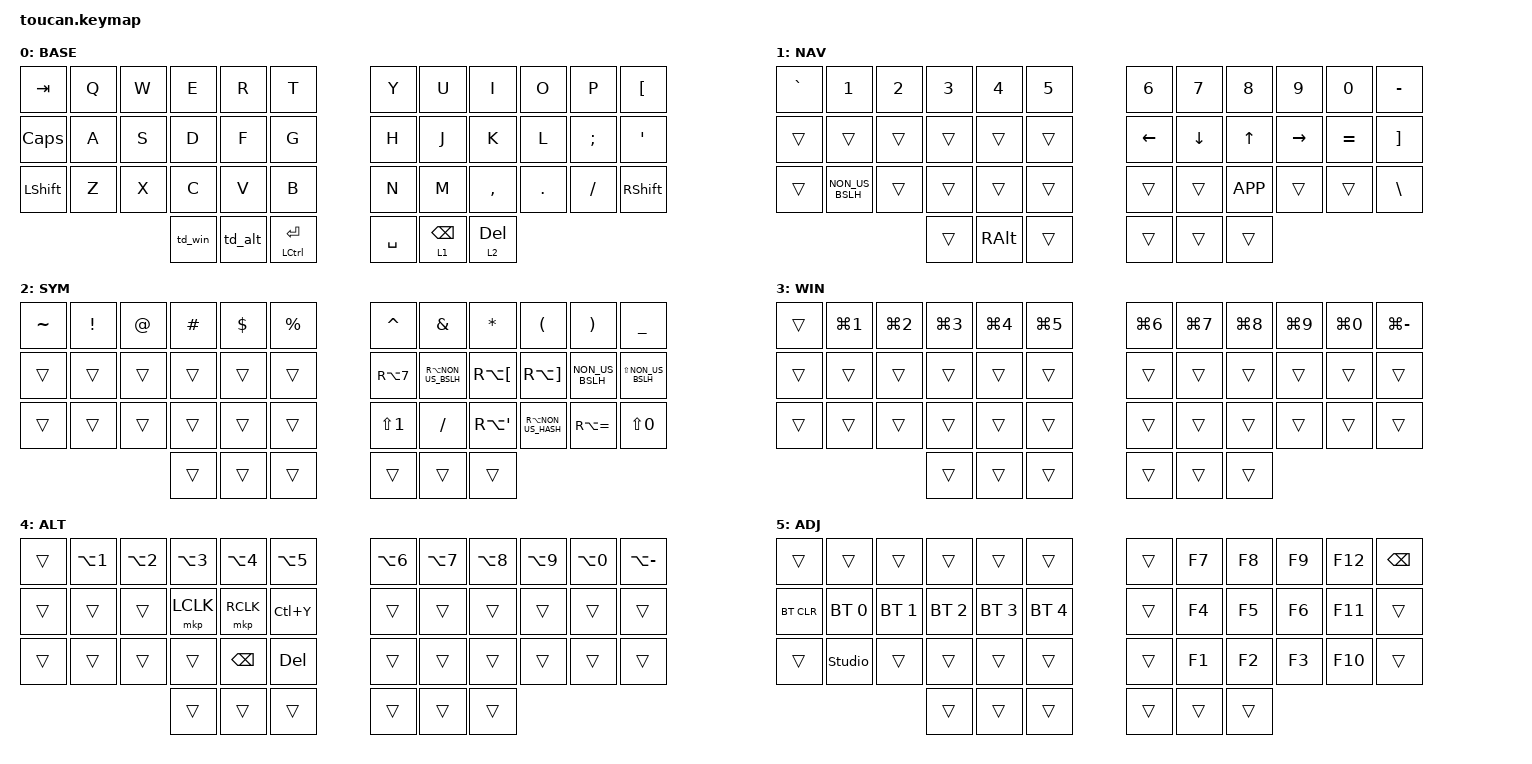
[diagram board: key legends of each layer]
#include <behaviors.dtsi>
#include <dt-bindings/zmk/bt.h>
#include <dt-bindings/zmk/keys.h>
#include <dt-bindings/zmk/mouse.h>

#define BASE    0
#define NAV     1
#define SYM     2
#define WIN_NAV 3
#define ALT_NAV 4
#define ADJ     5

/ {
    behaviors {
        td_win: td_win {
            compatible = "zmk,behavior-tap-dance";
            #binding-cells = <0>;
            tapping-term-ms = <200>;
            bindings = <&kp LGUI>, <&mo WIN_NAV>;
        };

        td_alt: td_alt {
            compatible = "zmk,behavior-tap-dance";
            #binding-cells = <0>;
            tapping-term-ms = <200>;
            bindings = <&kp LALT>, <&mo ALT_NAV>;
        };
    };

    conditional_layers {
        compatible = "zmk,conditional-layers";

        tri_layer {
            if-layers = <1 2>;
            then-layer = <5>;
        };
    };

    keymap {
        compatible = "zmk,keymap";

        base {
            display-name = "BASE";
            bindings = <
                &kp TAB      &kp Q  &kp W  &kp E  &kp R  &kp T       &kp Y      &kp U       &kp I      &kp O    &kp P     &kp LEFT_BRACKET
                &kp CAPSLOCK &kp A  &kp S  &kp D  &kp F  &kp G       &kp H      &kp J       &kp K      &kp L    &kp SEMI  &kp SQT
                &kp LSHFT    &kp Z  &kp X  &kp C  &kp V  &kp B       &kp N      &kp M       &kp COMMA  &kp DOT  &kp FSLH  &kp RSHFT
                                        &td_win  &td_alt  &mt LCTRL RET   &kp SPACE  &lt 1 BSPC  &lt 2 DEL
            >;
        };

        nav {
            display-name = "NAV";
            bindings = <
                &kp GRAVE  &kp N1          &kp N2  &kp N3  &kp N4  &kp N5       &kp N6    &kp N7    &kp N8     &kp N9     &kp N0     &kp MINUS
                &trans     &trans          &trans  &trans  &trans  &trans       &kp LEFT  &kp DOWN  &kp UP     &kp RIGHT  &kp EQUAL  &kp RIGHT_BRACKET
                &trans     &kp NON_US_BSLH &trans  &trans  &trans  &trans       &trans    &trans    &kp K_APP  &trans     &trans     &kp BSLH
                                              &trans  &kp RALT  &trans   &trans  &trans  &trans
            >;
        };

        sym {
            display-name = "SYM";
            bindings = <
                &kp TILDE  &kp EXCL  &kp AT  &kp HASH  &kp DLLR  &kp PRCNT   &kp CARET  &kp AMPS             &kp ASTRK   &kp LPAR          &kp RPAR          &kp UNDER
                &trans     &trans    &trans  &trans    &trans    &trans      &kp RA(N7) &kp RA(NON_US_BSLH)  &kp RA(LBKT) &kp RA(RBKT)      &kp NON_US_BSLH   &kp LS(NON_US_BSLH)
                &trans     &trans    &trans  &trans    &trans    &trans      &kp LS(N1) &kp FSLH             &kp RA(SQT)  &kp RA(NON_US_HASH) &kp RA(EQUAL)   &kp LS(N0)
                                                &trans  &trans  &trans   &trans  &trans  &trans
            >;
        };

        win_nav {
            display-name = "WIN";
            bindings = <
                &trans  &kp LG(N1)  &kp LG(N2)  &kp LG(N3)  &kp LG(N4)  &kp LG(N5)   &kp LG(N6)  &kp LG(N7)  &kp LG(N8)  &kp LG(N9)  &kp LG(N0)  &kp LG(MINUS)
                &trans  &trans      &trans      &trans      &trans      &trans       &trans      &trans      &trans      &trans      &trans      &trans
                &trans  &trans      &trans      &trans      &trans      &trans       &trans      &trans      &trans      &trans      &trans      &trans
                                                    &trans  &trans  &trans   &trans  &trans  &trans
            >;
        };

        alt_nav {
            display-name = "ALT";
            bindings = <
                &trans  &kp LA(N1)  &kp LA(N2)  &kp LA(N3)    &kp LA(N4)   &kp LA(N5)   &kp LA(N6)  &kp LA(N7)  &kp LA(N8)  &kp LA(N9)  &kp LA(N0)  &kp LA(MINUS)
                &trans  &trans      &trans      &mkp LCLK     &mkp RCLK    &kp LC(Y)    &trans      &trans      &trans      &trans      &trans      &trans
                &trans  &trans      &trans      &trans        &kp BSPC     &kp DEL      &trans      &trans      &trans      &trans      &trans      &trans
                                                    &trans  &trans  &trans   &trans  &trans  &trans
            >;
        };

        adj {
            display-name = "ADJ";
            bindings = <
                &trans       &trans          &trans          &trans          &trans          &trans           &trans  &kp F7  &kp F8  &kp F9  &kp F12  &kp BSPC
                &bt BT_CLR   &bt BT_SEL 0   &bt BT_SEL 1   &bt BT_SEL 2   &bt BT_SEL 3   &bt BT_SEL 4    &trans  &kp F4  &kp F5  &kp F6  &kp F11  &trans
                &trans       &studio_unlock  &trans          &trans          &trans          &trans           &trans  &kp F1  &kp F2  &kp F3  &kp F10  &trans
                                                        &trans  &trans  &trans   &trans  &trans  &trans
            >;
        };

        extra_1 { status = "reserved"; };

        extra_2 { status = "reserved"; };

        extra_3 { status = "reserved"; };
    };
};
